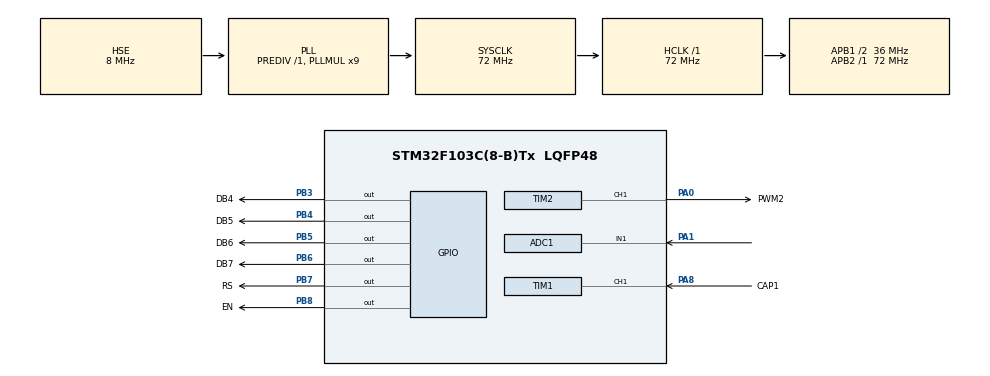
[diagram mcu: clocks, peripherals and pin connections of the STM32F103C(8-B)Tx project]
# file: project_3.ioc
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ADC1.Channel-0\#ChannelRegularConversion=ADC_CHANNEL_1
ADC1.NbrOfConversionFlag=1
ADC1.Rank-0\#ChannelRegularConversion=1
ADC1.SamplingTime-0\#ChannelRegularConversion=ADC_SAMPLETIME_1CYCLE_5
ADC1.master=1
Mcu.Family=STM32F1
Mcu.Name=STM32F103C(8-B)Tx
Mcu.Package=LQFP48
NVIC.PriorityGroup=NVIC_PRIORITYGROUP_4
NVIC.TIM1_CC_IRQn=true\:0\:0\:false\:false\:true\:true\:true\:true
PA0-WKUP.GPIO_Label=PWM2
PA0-WKUP.Signal=S_TIM2_CH1_ETR
PA1.Signal=ADCx_IN1
PA13.Mode=Serial_Wire
PA13.Signal=SYS_JTMS-SWDIO
PA14.Mode=Serial_Wire
PA14.Signal=SYS_JTCK-SWCLK
PA8.GPIO_Label=CAP1
PA8.Signal=S_TIM1_CH1
PB3.GPIO_Label=DB4
PB3.Signal=GPIO_Output
PB4.GPIO_Label=DB5
PB4.Signal=GPIO_Output
PB5.GPIO_Label=DB6
PB5.Signal=GPIO_Output
PB6.GPIO_Label=DB7
PB6.Signal=GPIO_Output
PB7.GPIO_Label=RS
PB7.Signal=GPIO_Output
PB8.GPIO_Label=EN
PB8.Signal=GPIO_Output
PD0-OSC_IN.Mode=HSE-External-Oscillator
PD0-OSC_IN.Signal=RCC_OSC_IN
PD1-OSC_OUT.Mode=HSE-External-Oscillator
PD1-OSC_OUT.Signal=RCC_OSC_OUT
ProjectManager.HeapSize=0x200
ProjectManager.StackSize=0x400
ProjectManager.TargetToolchain=STM32CubeIDE
RCC.ADCPresc=RCC_ADCPCLK2_DIV6
RCC.AHBFreq_Value=72000000
RCC.APB1CLKDivider=RCC_HCLK_DIV2
RCC.APB1Freq_Value=36000000
RCC.APB1TimFreq_Value=72000000
RCC.APB2Freq_Value=72000000
RCC.APB2TimFreq_Value=72000000
RCC.HCLKFreq_Value=72000000
RCC.PLLMUL=RCC_PLL_MUL9
RCC.PLLSourceVirtual=RCC_PLLSOURCE_HSE
RCC.SYSCLKFreq_VALUE=72000000
RCC.SYSCLKSource=RCC_SYSCLKSOURCE_PLLCLK
RCC.USBFreq_Value=72000000
SH.ADCx_IN1.0=ADC1_IN1,IN1
SH.S_TIM1_CH1.0=TIM1_CH1,Input_Capture1_from_TI1
SH.S_TIM2_CH1_ETR.0=TIM2_CH1,PWM Generation1 CH1
TIM1.Channel-Input_Capture1_from_TI1=TIM_CHANNEL_1
TIM1.Prescaler=71
TIM2.Channel-PWM\ Generation1\ CH1=TIM_CHANNEL_1
TIM2.Period=99
TIM2.Prescaler=71
TIM3.Period=99
TIM3.Prescaler=71
VP_TIM1_VS_ClockSourceINT.Mode=Internal
VP_TIM2_VS_ClockSourceINT.Mode=Internal
VP_TIM3_VS_ClockSourceINT.Mode=Internal
board=custom

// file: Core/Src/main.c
/* USER CODE BEGIN Header */
/**
  ******************************************************************************
  * @file           : main.c
  * @brief          : Main program body
  ******************************************************************************
  * @attention
  *
  * Copyright (c) 2023 STMicroelectronics.
  * All rights reserved.
  *
  * This software is licensed under terms that can be found in the LICENSE file
  * in the root directory of this software component.
  * If no LICENSE file comes with this software, it is provided AS-IS.
  *
  ******************************************************************************
  */
/* USER CODE END Header */
#include "main.h"
#include "adc.h"
#include "tim.h"
#include "gpio.h"

/* USER CODE BEGIN Includes */

#include <stdio.h>

/* USER CODE END Includes */

/* USER CODE BEGIN PD */
#define IN   72000000
#define PSC  71
/* USER CODE END PD */

void SystemClock_Config(void);

/* USER CODE BEGIN 0 */

Lcd_HandleTypeDef lcd;
Lcd_PortType ports[] = {DB5_GPIO_Port, DB6_GPIO_Port, DB7_GPIO_Port};
Lcd_PinType pins[] = {DB4_Pin, DB5_Pin, DB6_Pin, DB7_Pin};
char rpm_lcd[5], rpm_perc_lcd[5], adc_val_lcd[5], adc_perc_lcd[5]; // 32 bits = 4*8 , 5 = 4 + 1 (end of string char)

uint32_t clk ; //timer clock
uint8_t mode = 0; // 1 represents active, 0 represents NOT active
uint32_t D1=0, D2=0; // active duration limits
uint32_t clk_per_rotation = 0 ; //duration of one shaft rotation
uint32_t N = 0; //number of interrupts (ARR overflow)
uint32_t f_captured = 0; //frequency by which the shaft rotates
uint32_t one_min_count = 0;
uint8_t one_min_flag = 0;// for checking the speed of shaft each minute
uint16_t adc_val = 0; //adc detected value
uint16_t adc_perc = 0;
uint32_t rpm = 0; //for shaft
uint32_t rpm_max = 0;
uint32_t rpm_perc =0 ;

/* USER CODE END 0 */

int main(void)
{

  /* MCU Configuration--------------------------------------------------------*/

  /* Reset of all peripherals, Initializes the Flash interface and the Systick. */
  HAL_Init();

  /* Configure the system clock */
  SystemClock_Config();

  /* Initialize all configured peripherals */
  MX_GPIO_Init();
  MX_ADC1_Init();
  MX_TIM1_Init();
  MX_TIM2_Init();
  MX_TIM3_Init();
  /* USER CODE BEGIN 2 */

  // Initializations:
  HAL_TIM_Base_Start(&htim1);
  HAL_TIM_IC_Start(&htim1, TIM_CHANNEL_1);
  HAL_TIM_PWM_Start(&htim2, TIM_CHANNEL_1);
  HAL_ADC_Start(&hadc1);
  clk = IN/(PSC+1);

  //1 ms counter
  HAL_TIM_Base_Start(&htim3);

  //first minute
  TIM2 -> CCR1 = 99; //maximum value for PWM
  HAL__delay(1000);
  Lcd_cursor(&lcd, 1, 1);
  sprintf(rpm_lcd, "%ld" , rpm);
  lcd = Lcd_create(ports, pins, RS_GPIO_Port, RS_Pin, EN_GPIO_Port, EN_Pin, LCD_4_BIT_MODE );
  Lcd_string(&lcd, rpm_lcd);
  rpm_max = rpm;
  /* USER CODE END 2 */

  /* Infinite loop */
  while (1)
  {

    /* USER CODE BEGIN 3 */
	 Lcd_clear(&lcd);

	 adc_val = HAL_ADC_GetValue(&hadc1);
	 rpm_perc = (uint32_t)(((float)rpm /(float)rpm_max)*100);

	 Lcd_cursor(&lcd, 1, 1);
	 sprintf(rpm_lcd, "%ld", rpm);
	 lcd = Lcd_create(ports, pins,RS_GPIO_Port, RS_Pin, EN_GPIO_Port, EN_Pin, LCD_4_BIT_MODE );
	 Lcd_string(&lcd, rpm_lcd);

	// if(one_min_flag == 0){

	 //}
	 if(one_min_flag == 1){
		 Lcd_cursor(&lcd, 1, 10);
		 sprintf(rpm_perc_lcd, "%ld", rpm_perc);
		 Lcd_string(&lcd, rpm_perc_lcd);

		 Lcd_cursor(&lcd, 2, 1);
		 sprintf(adc_val_lcd, "%d", adc_val);
		 Lcd_string(&lcd, adc_val_lcd);

		 Lcd_cursor(&lcd, 2, 10);
		 sprintf(adc_perc_lcd, "%d", adc_perc);
		 Lcd_string(&lcd, adc_perc_lcd);
	 }
	 HAL_Delay(50);

  }
  /* USER CODE END 3 */
}

void SystemClock_Config(void)
{
  RCC_OscInitTypeDef RCC_OscInitStruct = {0};
  RCC_ClkInitTypeDef RCC_ClkInitStruct = {0};
  RCC_PeriphCLKInitTypeDef PeriphClkInit = {0};

  /** Initializes the RCC Oscillators according to the specified parameters
  * in the RCC_OscInitTypeDef structure.
  */
  RCC_OscInitStruct.OscillatorType = RCC_OSCILLATORTYPE_HSE;
  RCC_OscInitStruct.HSEState = RCC_HSE_ON;
  RCC_OscInitStruct.HSEPredivValue = RCC_HSE_PREDIV_DIV1;
  RCC_OscInitStruct.HSIState = RCC_HSI_ON;
  RCC_OscInitStruct.PLL.PLLState = RCC_PLL_ON;
  RCC_OscInitStruct.PLL.PLLSource = RCC_PLLSOURCE_HSE;
  RCC_OscInitStruct.PLL.PLLMUL = RCC_PLL_MUL9;
  if (HAL_RCC_OscConfig(&RCC_OscInitStruct) != HAL_OK)
  {
    Error_Handler();
  }

  /** Initializes the CPU, AHB and APB buses clocks
  */
  RCC_ClkInitStruct.ClockType = RCC_CLOCKTYPE_HCLK|RCC_CLOCKTYPE_SYSCLK
                              |RCC_CLOCKTYPE_PCLK1|RCC_CLOCKTYPE_PCLK2;
  RCC_ClkInitStruct.SYSCLKSource = RCC_SYSCLKSOURCE_PLLCLK;
  RCC_ClkInitStruct.AHBCLKDivider = RCC_SYSCLK_DIV1;
  RCC_ClkInitStruct.APB1CLKDivider = RCC_HCLK_DIV2;
  RCC_ClkInitStruct.APB2CLKDivider = RCC_HCLK_DIV1;

  if (HAL_RCC_ClockConfig(&RCC_ClkInitStruct, FLASH_LATENCY_2) != HAL_OK)
  {
    Error_Handler();
  }
  PeriphClkInit.PeriphClockSelection = RCC_PERIPHCLK_ADC;
  PeriphClkInit.AdcClockSelection = RCC_ADCPCLK2_DIV6;
  if (HAL_RCCEx_PeriphCLKConfig(&PeriphClkInit) != HAL_OK)
  {
    Error_Handler();
  }
}

/* USER CODE BEGIN 4 */
void HAL_TIM_IC_CaptureCallback(TIM_HandleTypeDef *htim)
{
	if(mode == 0){
		D1 = TIM1 -> CCR1;
		mode = 1;
		N = 0;
	}
	if(mode == 1){
		D2 = TIM1 ->CCR1;
		clk_per_rotation = (D2 + N*(TIM1->ARR)) - D1;
		f_captured = (uint32_t)(clk/clk_per_rotation);
		rpm = f_captured*60;
		mode = 0;
	}
}

void HAL_TIM_PeriodElapsedCallback(TIM_HandleTypeDef *htim)
{
	if(htim == &htim1){
		N = N + 1;
	}
	if(htim == &htim3){
		if(one_min_flag == 1){
			if(adc_perc > rpm_perc){
				TIM2 -> CCR1 = (TIM2 ->CCR1) + 1;
			}
			if(adc_perc < rpm_perc){
				TIM2 -> CCR1 = (TIM2 ->CCR1) - 1;
			}
		}
		one_min_count++;
		if(one_min_count == 60000){
			one_min_count = 1;
		}
	}
}

/* USER CODE END 4 */

void Error_Handler(void)
{
  __disable_irq();
  while (1)
  {
  }
}
